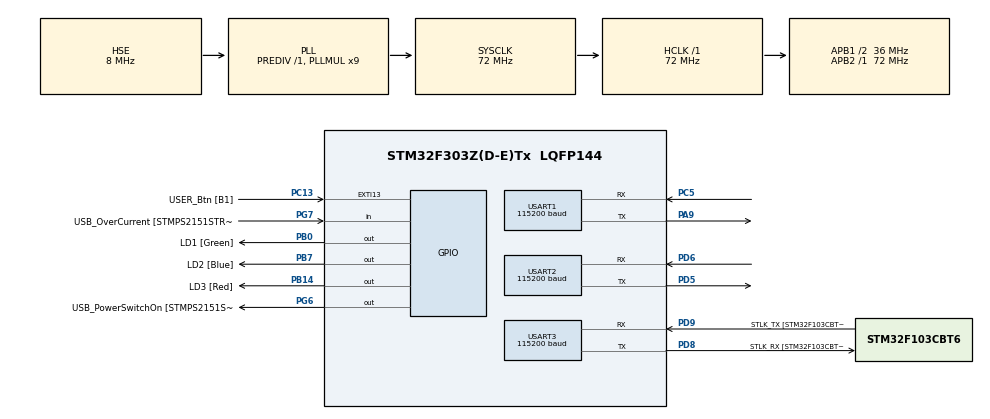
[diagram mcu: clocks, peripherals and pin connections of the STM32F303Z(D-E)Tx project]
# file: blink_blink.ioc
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Dma.Request0=USART1_TX
Dma.Request1=USART2_RX
Dma.USART1_TX.0.Direction=DMA_MEMORY_TO_PERIPH
Dma.USART1_TX.0.Instance=DMA1_Channel4
Dma.USART1_TX.0.MemDataAlignment=DMA_MDATAALIGN_BYTE
Dma.USART1_TX.0.MemInc=DMA_MINC_ENABLE
Dma.USART1_TX.0.Mode=DMA_NORMAL
Dma.USART1_TX.0.PeriphDataAlignment=DMA_PDATAALIGN_BYTE
Dma.USART1_TX.0.PeriphInc=DMA_PINC_DISABLE
Dma.USART1_TX.0.Priority=DMA_PRIORITY_LOW
Dma.USART2_RX.1.Direction=DMA_PERIPH_TO_MEMORY
Dma.USART2_RX.1.Instance=DMA1_Channel6
Dma.USART2_RX.1.MemDataAlignment=DMA_MDATAALIGN_BYTE
Dma.USART2_RX.1.MemInc=DMA_MINC_ENABLE
Dma.USART2_RX.1.Mode=DMA_CIRCULAR
Dma.USART2_RX.1.PeriphDataAlignment=DMA_PDATAALIGN_BYTE
Dma.USART2_RX.1.PeriphInc=DMA_PINC_DISABLE
Dma.USART2_RX.1.Priority=DMA_PRIORITY_LOW
FREERTOS.Tasks01=defaultTask,24,128,StartDefaultTask,Default,NULL,Dynamic,NULL,NULL
FREERTOS.configTOTAL_HEAP_SIZE=8192
Mcu.Family=STM32F3
Mcu.Name=STM32F303Z(D-E)Tx
Mcu.Package=LQFP144
NVIC.DMA1_Channel4_IRQn=true\:5\:0\:false\:false\:true\:true\:false\:true\:true
NVIC.DMA1_Channel6_IRQn=true\:5\:0\:false\:false\:true\:true\:false\:true\:true
NVIC.PriorityGroup=NVIC_PRIORITYGROUP_4
NVIC.TIM6_DAC_IRQn=true\:15\:0\:false\:false\:true\:false\:false\:true\:true
NVIC.TimeBase=TIM6_DAC_IRQn
NVIC.TimeBaseIP=TIM6
NVIC.USART1_IRQn=true\:5\:0\:false\:false\:true\:true\:true\:true\:true
NVIC.USART2_IRQn=true\:5\:0\:false\:false\:true\:true\:true\:true\:true
NVIC.USART3_IRQn=true\:5\:0\:false\:false\:true\:true\:true\:true\:true
PA14.GPIO_Label=TCK
PA14.Signal=SYS_JTCK-SWCLK
PA9.Mode=Asynchronous
PA9.Signal=USART1_TX
PB0.GPIO_Label=LD1 [Green]
PB0.Signal=GPIO_Output
PB14.GPIO_Label=LD3 [Red]
PB14.Signal=GPIO_Output
PB3.GPIO_Label=SWO
PB3.Signal=SYS_JTDO-TRACESWO
PB7.GPIO_Label=LD2 [Blue]
PB7.Signal=GPIO_Output
PC13.GPIO_Label=USER_Btn [B1]
PC13.Signal=GPXTI13
PC14-OSC32_IN.Mode=LSE-External-Oscillator
PC14-OSC32_IN.Signal=RCC_OSC32_IN
PC15-OSC32_OUT.Mode=LSE-External-Oscillator
PC15-OSC32_OUT.Signal=RCC_OSC32_OUT
PC5.Mode=Asynchronous
PC5.Signal=USART1_RX
PD5.Mode=Asynchronous
PD5.Signal=USART2_TX
PD6.Mode=Asynchronous
PD6.Signal=USART2_RX
PD8.GPIO_Label=STLK_RX [STM32F103CBT6_PA3]
PD8.Mode=Asynchronous
PD8.Signal=USART3_TX
PD9.GPIO_Label=STLK_TX [STM32F103CBT6_PA2]
PD9.Mode=Asynchronous
PD9.Signal=USART3_RX
PF0-OSC_IN.GPIO_Label=MCO [STM32F103CBT6_PA8]
PF0-OSC_IN.Mode=HSE-External-Clock-Source
PF0-OSC_IN.Signal=RCC_OSC_IN
PG6.GPIO_Label=USB_PowerSwitchOn [STMPS2151STR_EN]
PG6.Signal=GPIO_Output
PG7.GPIO_Label=USB_OverCurrent [STMPS2151STR_FAULT]
PG7.Signal=GPIO_Input
ProjectManager.HeapSize=0x200
ProjectManager.StackSize=0x400
ProjectManager.TargetToolchain=CMake
RCC.AHBFreq_Value=72000000
RCC.APB1CLKDivider=RCC_HCLK_DIV2
RCC.APB1Freq_Value=36000000
RCC.APB1TimFreq_Value=72000000
RCC.APB2Freq_Value=72000000
RCC.APB2TimFreq_Value=72000000
RCC.CortexFreq_Value=72000000
RCC.HCLKFreq_Value=72000000
RCC.HSE_VALUE=8000000
RCC.HSI_VALUE=8000000
RCC.PLLMUL=RCC_PLL_MUL9
RCC.PLLSourceVirtual=RCC_PLLSOURCE_HSE
RCC.PRESCALERUSB=RCC_USBCLKSOURCE_PLL_DIV1_5
RCC.SYSCLKFreq_VALUE=72000000
RCC.SYSCLKSourceVirtual=RCC_SYSCLKSOURCE_PLLCLK
RCC.USBFreq_Value=48000000
USART1.BaudRate=115200
USART1.VirtualMode-Asynchronous=VM_ASYNC
USART2.BaudRate=115200
USART2.VirtualMode-Asynchronous=VM_ASYNC
USART3.BaudRate=115200
USART3.VirtualMode-Asynchronous=VM_ASYNC
VP_FREERTOS_VS_CMSIS_V2.Mode=CMSIS_V2
VP_RTC_VS_RTC_Activate.Mode=RTC_Enabled
VP_SYS_VS_tim6.Mode=TIM6
board=NUCLEO-F303ZE

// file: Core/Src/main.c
/* USER CODE BEGIN Header */
/**
  ******************************************************************************
  * @file           : main.c
  * @brief          : Main program body
  ******************************************************************************
  * @attention
  *
  * Copyright (c) 2026 STMicroelectronics.
  * All rights reserved.
  *
  * This software is licensed under terms that can be found in the LICENSE file
  * in the root directory of this software component.
  * If no LICENSE file comes with this software, it is provided AS-IS.
  *
  ******************************************************************************
  */
/* USER CODE END Header */
#include "main.h"
#include "cmsis_os.h"

/* USER CODE BEGIN Includes */
#include "task.h"

#include "Led.hpp"
#include "UartPeripheralTest.hpp"

#include <string.h>
#include <stdio.h>

/* USER CODE END Includes */

RTC_HandleTypeDef hrtc;

UART_HandleTypeDef huart1;
UART_HandleTypeDef huart2;
UART_HandleTypeDef huart3;
DMA_HandleTypeDef hdma_usart1_tx;
DMA_HandleTypeDef hdma_usart2_rx;

/* Definitions for defaultTask */
osThreadId_t defaultTaskHandle;
const osThreadAttr_t defaultTask_attributes = {
  .name = "defaultTask",
  .stack_size = 128 * 4,
  .priority = (osPriority_t) osPriorityLow,
};

/* USER CODE BEGIN PV */

osThreadId_t txTaskHandle;
const osThreadAttr_t txTask_attributes = {
.name= "TxTask",
.stack_size = 128 * 4,
.priority = (osPriority_t) osPriorityNormal,
};

osThreadId_t rxTaskHandle;
const osThreadAttr_t rxProcessTask_attributes = {
.name= "RxProcessTask",
.stack_size = 512 * 4,
.priority = (osPriority_t) osPriorityAboveNormal,
};

char tx1_buffer[64];     //gönderilecek veri
uint8_t rx2_buffer[64];  //alınan veri
uint8_t rx2_main_buffer[64];
volatile uint16_t rx2_len=0;
uint32_t rx2_counter = 0;

osMessageQueueId_t rxQueueHandle;
osSemaphoreId_t txDoneSemHandle;

uint8_t sim_step=0;
/* USER CODE END PV */

void SystemClock_Config(void);
static void MX_GPIO_Init(void);
static void MX_DMA_Init(void);
static void MX_RTC_Init(void);
static void MX_USART3_UART_Init(void);
static void MX_USART1_UART_Init(void);
static void MX_USART2_UART_Init(void);
void StartDefaultTask(void *argument);

/* USER CODE BEGIN PFP */
void StartTxTask(void *argument);
void StartRxProcessTask(void *argument);
/* USER CODE END PFP */

int main(void)
{

  /* MCU Configuration--------------------------------------------------------*/

  /* Reset of all peripherals, Initializes the Flash interface and the Systick. */
  HAL_Init();

  /* Configure the system clock */
  SystemClock_Config();

  /* Initialize all configured peripherals */
  MX_GPIO_Init();
  MX_DMA_Init();
  MX_RTC_Init();
  MX_USART3_UART_Init();
  MX_USART1_UART_Init();
  MX_USART2_UART_Init();
  /* USER CODE BEGIN 2 */
  int uartTestResult = App_UartPeripheralTest();
  char uartTestMsg[64];
  int uartTestLen = snprintf(uartTestMsg, sizeof(uartTestMsg),
                              "UartPeripheral test: %s\r\n",
                              uartTestResult ? "OK" : "FAIL");
  HAL_UART_Transmit(&huart3, (uint8_t*)uartTestMsg, uartTestLen, HAL_MAX_DELAY);

  HAL_UARTEx_ReceiveToIdle_DMA(&huart2, rx2_buffer, sizeof(rx2_buffer));

  // Half transfer interrupt kapatıldı. Sadece transfer tamamlandığında kesme alacağız.
  __HAL_DMA_DISABLE_IT(&hdma_usart2_rx, DMA_IT_HT);

  /* USER CODE END 2 */

  /* Init scheduler */
  osKernelInitialize();

  /* USER CODE BEGIN RTOS_SEMAPHORES */
  /* add semaphores, ... */
  txDoneSemHandle = osSemaphoreNew(1,0,NULL);

  if(NULL == txDoneSemHandle)
  {
     HAL_GPIO_WritePin(GPIOB, LD1_Pin|LD2_Pin|LD3_Pin, GPIO_PIN_SET);
  }
  /* USER CODE END RTOS_SEMAPHORES */

  /* USER CODE BEGIN RTOS_QUEUES */
  /* add queues, ... */
  rxQueueHandle = osMessageQueueNew(8, sizeof(uint16_t), NULL);
  //Capacity: 8 messages, Size, Attr: default memory allocation

  if (rxQueueHandle == NULL)
  {
    HAL_GPIO_WritePin(GPIOB, LD1_Pin|LD2_Pin|LD3_Pin, GPIO_PIN_SET);
  }

  /* USER CODE END RTOS_QUEUES */

  /* Create the thread(s) */
  /* creation of defaultTask */
  defaultTaskHandle = osThreadNew(StartDefaultTask, NULL, &defaultTask_attributes);

  /* USER CODE BEGIN RTOS_THREADS */
  /* add threads, ... */
  txTaskHandle = osThreadNew(StartTxTask, NULL, &txTask_attributes);
  rxTaskHandle = osThreadNew(StartRxProcessTask, NULL, &rxProcessTask_attributes);
  /* USER CODE END RTOS_THREADS */

  /* Start scheduler */
  osKernelStart();

  /* We should never get here as control is now taken by the scheduler */

  /* Infinite loop */
  /* USER CODE BEGIN WHILE */
#if 0
  while (1)
  {

    if (!tx1_busy)
    {
      tx1_busy = 1;

      //messages of different length
      if(sim_step==0)
      {
        sprintf(tx1_buffer,  "short\r\n");
      }
      else if(sim_step==1)
      {
        sprintf(tx1_buffer, "this is a longer message\r\n");
      }
      else if(sim_step==2)
      {
        sprintf(tx1_buffer, "this is appearently a long long message, like really long\r\n");
      }
      sim_step++;
      if(sim_step>2)
      {
        sim_step=0;
      }

      HAL_UART_Transmit_DMA(&huart1, (uint8_t*)tx1_buffer, strlen(tx1_buffer));
    }

    if(rx2_flag==1)
    {
      rx2_flag=0;
      rx2_counter++;

      rx2_main_buffer[rx2_len] = '\0';

      char status_msg[128];
      int len = snprintf(status_msg, sizeof(status_msg), "[packet %lu] (len: %u) - usart2 received: %s", rx2_counter, rx2_len, rx2_main_buffer);
      HAL_UART_Transmit(&huart3, (uint8_t*)status_msg, len, HAL_MAX_DELAY);

    }
    else
    {
      char err_msg[]="no data received\r\n";
      HAL_UART_Transmit(&huart3, (uint8_t*)err_msg, sizeof(err_msg)-1, HAL_MAX_DELAY);
    }
    HAL_Delay(1000);
  }
#endif
    /* USER CODE END WHILE */

}

void SystemClock_Config(void)
{
  RCC_OscInitTypeDef RCC_OscInitStruct = {0};
  RCC_ClkInitTypeDef RCC_ClkInitStruct = {0};
  RCC_PeriphCLKInitTypeDef PeriphClkInit = {0};

  /** Initializes the RCC Oscillators according to the specified parameters
  * in the RCC_OscInitTypeDef structure.
  */
  RCC_OscInitStruct.OscillatorType = RCC_OSCILLATORTYPE_LSI|RCC_OSCILLATORTYPE_HSE;
  RCC_OscInitStruct.HSEState = RCC_HSE_BYPASS;
  RCC_OscInitStruct.HSIState = RCC_HSI_ON;
  RCC_OscInitStruct.LSIState = RCC_LSI_ON;
  RCC_OscInitStruct.PLL.PLLState = RCC_PLL_ON;
  RCC_OscInitStruct.PLL.PLLSource = RCC_PLLSOURCE_HSE;
  RCC_OscInitStruct.PLL.PLLMUL = RCC_PLL_MUL9;
  RCC_OscInitStruct.PLL.PREDIV = RCC_PREDIV_DIV1;
  if (HAL_RCC_OscConfig(&RCC_OscInitStruct) != HAL_OK)
  {
    Error_Handler();
  }

  /** Initializes the CPU, AHB and APB buses clocks
  */
  RCC_ClkInitStruct.ClockType = RCC_CLOCKTYPE_HCLK|RCC_CLOCKTYPE_SYSCLK
                              |RCC_CLOCKTYPE_PCLK1|RCC_CLOCKTYPE_PCLK2;
  RCC_ClkInitStruct.SYSCLKSource = RCC_SYSCLKSOURCE_PLLCLK;
  RCC_ClkInitStruct.AHBCLKDivider = RCC_SYSCLK_DIV1;
  RCC_ClkInitStruct.APB1CLKDivider = RCC_HCLK_DIV2;
  RCC_ClkInitStruct.APB2CLKDivider = RCC_HCLK_DIV1;

  if (HAL_RCC_ClockConfig(&RCC_ClkInitStruct, FLASH_LATENCY_2) != HAL_OK)
  {
    Error_Handler();
  }
  PeriphClkInit.PeriphClockSelection = RCC_PERIPHCLK_USART1|RCC_PERIPHCLK_USART2
                              |RCC_PERIPHCLK_USART3|RCC_PERIPHCLK_RTC;
  PeriphClkInit.Usart1ClockSelection = RCC_USART1CLKSOURCE_PCLK2;
  PeriphClkInit.Usart2ClockSelection = RCC_USART2CLKSOURCE_PCLK1;
  PeriphClkInit.Usart3ClockSelection = RCC_USART3CLKSOURCE_PCLK1;
  PeriphClkInit.RTCClockSelection = RCC_RTCCLKSOURCE_LSI;
  if (HAL_RCCEx_PeriphCLKConfig(&PeriphClkInit) != HAL_OK)
  {
    Error_Handler();
  }
}

static void MX_RTC_Init(void)
{

  /** Initialize RTC Only
  */
  hrtc.Instance = RTC;
  hrtc.Init.HourFormat = RTC_HOURFORMAT_24;
  hrtc.Init.AsynchPrediv = 127;
  hrtc.Init.SynchPrediv = 255;
  hrtc.Init.OutPut = RTC_OUTPUT_DISABLE;
  hrtc.Init.OutPutPolarity = RTC_OUTPUT_POLARITY_HIGH;
  hrtc.Init.OutPutType = RTC_OUTPUT_TYPE_OPENDRAIN;
  if (HAL_RTC_Init(&hrtc) != HAL_OK)
  {
    Error_Handler();
  }

}

static void MX_USART1_UART_Init(void)
{

  huart1.Instance = USART1;
  huart1.Init.BaudRate = 115200;
  huart1.Init.WordLength = UART_WORDLENGTH_8B;
  huart1.Init.StopBits = UART_STOPBITS_1;
  huart1.Init.Parity = UART_PARITY_NONE;
  huart1.Init.Mode = UART_MODE_TX_RX;
  huart1.Init.HwFlowCtl = UART_HWCONTROL_NONE;
  huart1.Init.OverSampling = UART_OVERSAMPLING_16;
  huart1.Init.OneBitSampling = UART_ONE_BIT_SAMPLE_DISABLE;
  huart1.AdvancedInit.AdvFeatureInit = UART_ADVFEATURE_NO_INIT;
  if (HAL_UART_Init(&huart1) != HAL_OK)
  {
    Error_Handler();
  }

}

static void MX_USART2_UART_Init(void)
{

  huart2.Instance = USART2;
  huart2.Init.BaudRate = 115200;
  huart2.Init.WordLength = UART_WORDLENGTH_8B;
  huart2.Init.StopBits = UART_STOPBITS_1;
  huart2.Init.Parity = UART_PARITY_NONE;
  huart2.Init.Mode = UART_MODE_TX_RX;
  huart2.Init.HwFlowCtl = UART_HWCONTROL_NONE;
  huart2.Init.OverSampling = UART_OVERSAMPLING_16;
  huart2.Init.OneBitSampling = UART_ONE_BIT_SAMPLE_DISABLE;
  huart2.AdvancedInit.AdvFeatureInit = UART_ADVFEATURE_NO_INIT;
  if (HAL_UART_Init(&huart2) != HAL_OK)
  {
    Error_Handler();
  }

}

static void MX_USART3_UART_Init(void)
{

  huart3.Instance = USART3;
  huart3.Init.BaudRate = 115200;
  huart3.Init.WordLength = UART_WORDLENGTH_8B;
  huart3.Init.StopBits = UART_STOPBITS_1;
  huart3.Init.Parity = UART_PARITY_NONE;
  huart3.Init.Mode = UART_MODE_TX_RX;
  huart3.Init.HwFlowCtl = UART_HWCONTROL_NONE;
  huart3.Init.OverSampling = UART_OVERSAMPLING_16;
  huart3.Init.OneBitSampling = UART_ONE_BIT_SAMPLE_DISABLE;
  huart3.AdvancedInit.AdvFeatureInit = UART_ADVFEATURE_NO_INIT;
  if (HAL_UART_Init(&huart3) != HAL_OK)
  {
    Error_Handler();
  }

}

static void MX_DMA_Init(void)
{

  /* DMA controller clock enable */
  __HAL_RCC_DMA1_CLK_ENABLE();

  /* DMA interrupt init */
  /* DMA1_Channel4_IRQn interrupt configuration */
  HAL_NVIC_SetPriority(DMA1_Channel4_IRQn, 5, 0);
  HAL_NVIC_EnableIRQ(DMA1_Channel4_IRQn);
  /* DMA1_Channel6_IRQn interrupt configuration */
  HAL_NVIC_SetPriority(DMA1_Channel6_IRQn, 5, 0);
  HAL_NVIC_EnableIRQ(DMA1_Channel6_IRQn);

}

static void MX_GPIO_Init(void)
{
  GPIO_InitTypeDef GPIO_InitStruct = {0};

  /* GPIO Ports Clock Enable */
  __HAL_RCC_GPIOC_CLK_ENABLE();
  __HAL_RCC_GPIOF_CLK_ENABLE();
  __HAL_RCC_GPIOB_CLK_ENABLE();
  __HAL_RCC_GPIOD_CLK_ENABLE();
  __HAL_RCC_GPIOG_CLK_ENABLE();
  __HAL_RCC_GPIOA_CLK_ENABLE();

  /*Configure GPIO pin Output Level */
  HAL_GPIO_WritePin(GPIOB, LD1_Pin|LD3_Pin|LD2_Pin, GPIO_PIN_RESET);

  /*Configure GPIO pin Output Level */
  HAL_GPIO_WritePin(USB_PowerSwitchOn_GPIO_Port, USB_PowerSwitchOn_Pin, GPIO_PIN_RESET);

  /*Configure GPIO pin : USER_Btn_Pin */
  GPIO_InitStruct.Pin = USER_Btn_Pin;
  GPIO_InitStruct.Mode = GPIO_MODE_IT_RISING;
  GPIO_InitStruct.Pull = GPIO_NOPULL;
  HAL_GPIO_Init(USER_Btn_GPIO_Port, &GPIO_InitStruct);

  /*Configure GPIO pins : LD1_Pin LD3_Pin LD2_Pin */
  GPIO_InitStruct.Pin = LD1_Pin|LD3_Pin|LD2_Pin;
  GPIO_InitStruct.Mode = GPIO_MODE_OUTPUT_PP;
  GPIO_InitStruct.Pull = GPIO_NOPULL;
  GPIO_InitStruct.Speed = GPIO_SPEED_FREQ_LOW;
  HAL_GPIO_Init(GPIOB, &GPIO_InitStruct);

  /*Configure GPIO pin : USB_PowerSwitchOn_Pin */
  GPIO_InitStruct.Pin = USB_PowerSwitchOn_Pin;
  GPIO_InitStruct.Mode = GPIO_MODE_OUTPUT_PP;
  GPIO_InitStruct.Pull = GPIO_NOPULL;
  GPIO_InitStruct.Speed = GPIO_SPEED_FREQ_LOW;
  HAL_GPIO_Init(USB_PowerSwitchOn_GPIO_Port, &GPIO_InitStruct);

  /*Configure GPIO pin : USB_OverCurrent_Pin */
  GPIO_InitStruct.Pin = USB_OverCurrent_Pin;
  GPIO_InitStruct.Mode = GPIO_MODE_INPUT;
  GPIO_InitStruct.Pull = GPIO_NOPULL;
  HAL_GPIO_Init(USB_OverCurrent_GPIO_Port, &GPIO_InitStruct);

}

/* USER CODE BEGIN 4 */

void StartTxTask(void *argument)
{
  for(;;)
  {
      HAL_GPIO_TogglePin(GPIOB, LD3_Pin);  // TX gerçekten gönderiyor mu?

      //messages of different length
      if(sim_step==0)
      {
        sprintf(tx1_buffer,  "short\r\n");
      }
      else if(sim_step==1)
      {
        sprintf(tx1_buffer, "this is a longer message\r\n");
      }
      else if(sim_step==2)
      {
        sprintf(tx1_buffer, "this is appearently a long long message, like really long\r\n");
      }
      sim_step++;

      if(sim_step>2)
      {
        sim_step=0;
      }

      HAL_UART_Transmit_DMA(&huart1, (uint8_t*)tx1_buffer, strlen(tx1_buffer));
      osSemaphoreAcquire(txDoneSemHandle, osWaitForever);

      osDelay(1000);
  }
}

void StartRxProcessTask(void *argument)
{
  uint16_t received_len;

  for(;;)
  {
    if(osMessageQueueGet(rxQueueHandle, &received_len, NULL, osWaitForever) == osOK)
    {
      rx2_len= received_len;
      rx2_counter++;
      rx2_main_buffer[rx2_len] = '\0';

      char status_msg[128];
      int len = snprintf(status_msg, sizeof(status_msg), "[packet %lu] (len: %u) - usart2 received: %s", rx2_counter, rx2_len, rx2_main_buffer);
      HAL_UART_Transmit(&huart3, (uint8_t*)status_msg, len, HAL_MAX_DELAY);
  }else{
    char err_msg[]="no data received\r\n";
    HAL_UART_Transmit(&huart3, (uint8_t*)err_msg, sizeof(err_msg)-1, HAL_MAX_DELAY);
  }
  UBaseType_t freeStack = uxTaskGetStackHighWaterMark(NULL); // NULL = kendi task'ı
  char stack_msg[64];
  int len = snprintf(stack_msg, sizeof(stack_msg), "[RxProcessTask] free stack: %lu words (%lu bytes)\r\n", (unsigned long)freeStack, (unsigned long)(freeStack * 4));
  HAL_UART_Transmit(&huart3, (uint8_t*)stack_msg, len, HAL_MAX_DELAY);
  osDelay(1000);
  }
}

void HAL_UARTEx_RxEventCallback(UART_HandleTypeDef *huart, uint16_t Size)
{
    if (huart->Instance == USART2)
    {
        HAL_UART_DMAStop(&huart2); // Stop the DMA transfer to process the received data

        memcpy(rx2_main_buffer, rx2_buffer, Size); // Copy the received data to the main buffer

        uint16_t len = Size;
        osMessageQueuePut(rxQueueHandle, &len, 0,0);

        HAL_UARTEx_ReceiveToIdle_DMA(&huart2, rx2_buffer, sizeof(rx2_buffer));
        __HAL_DMA_DISABLE_IT(&hdma_usart2_rx, DMA_IT_HT);
    }
}

void HAL_UART_TxCpltCallback(UART_HandleTypeDef *huart)
{
    if (huart->Instance == USART1)
    {
        osSemaphoreRelease(txDoneSemHandle); // Release the semaphore to signal that transmission is complete
    }
}

void vApplicationStackOverflowHook(TaskHandle_t xTask, char *pcTaskName)
{
  if (strcmp(pcTaskName, "TxTask") == 0)
  {
    HAL_GPIO_WritePin(GPIOB, LD1_Pin, GPIO_PIN_SET);   // yeşil = TxTask taştı
  }
  else if (strcmp(pcTaskName, "RxProcessTask") == 0)
  {
    HAL_GPIO_WritePin(GPIOB, LD2_Pin, GPIO_PIN_SET);   // mavi = RxProcessTask taştı
  }
  else
  {
    HAL_GPIO_WritePin(GPIOB, LD3_Pin, GPIO_PIN_SET);   // kırmızı = defaultTask ya da başka
  }
  while(1) { }
}

/* USER CODE END 4 */

void StartDefaultTask(void *argument)
{
  /* USER CODE BEGIN 5 */
  /* Infinite loop */
  for(;;)
  {
    HAL_GPIO_TogglePin(GPIOB, LD1_Pin);
    osDelay(500);
  }
  /* USER CODE END 5 */
}

void HAL_TIM_PeriodElapsedCallback(TIM_HandleTypeDef *htim)
{
  if (htim->Instance == TIM6)
  {
    HAL_IncTick();
  }
}

void Error_Handler(void)
{
  __disable_irq();
  while (1)
  {
  }
}
